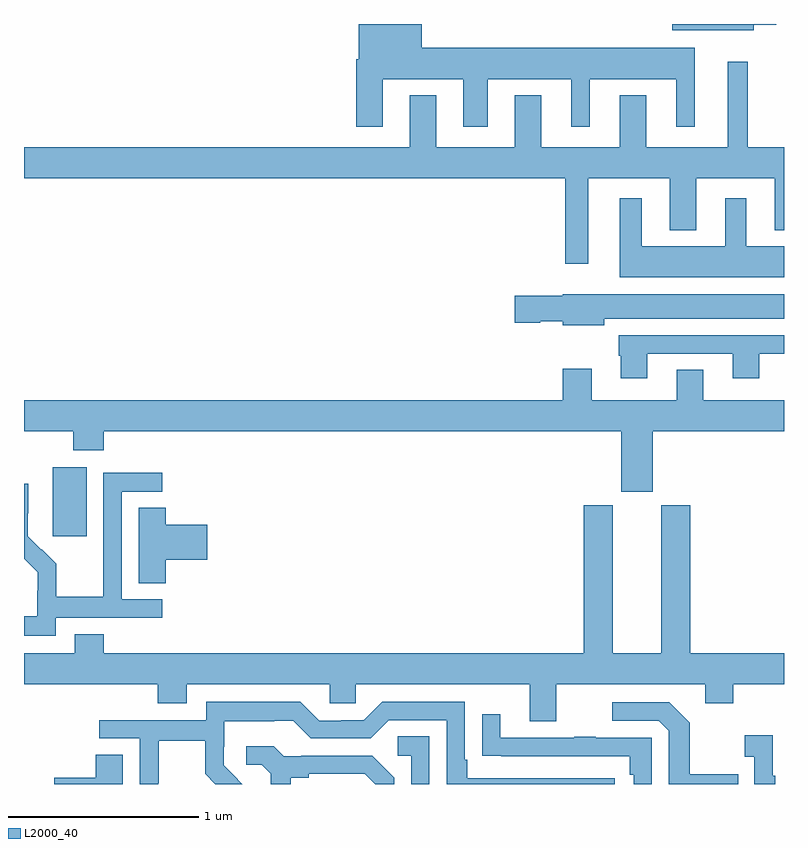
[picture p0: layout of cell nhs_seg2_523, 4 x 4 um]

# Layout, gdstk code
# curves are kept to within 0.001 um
import gdstk
lib = gdstk.Library(unit=1e-6, precision=1e-09)
def R(c, l, rs):  # rectangles x0, y0, x1, y1
    for r in rs: c.add(gdstk.rectangle(r[:2], r[2:], *l))
def P(c, l, *ps):  # polygons
    for p in ps: c.add(gdstk.Polygon(p, *l))
L2000_40 = (2000, 40)

nhs_seg2_523 = lib.new_cell('nhs_seg2_523')
R(nhs_seg2_523, L2000_40, [(137.15,627.105,137.329,627.466)])
P(nhs_seg2_523, L2000_40, [(140.842,629.795),(140.958,629.795),(140.958,629.8),(140.412,629.8),(140.412,629.768),(140.842,629.768)],
  [(138.889,629.51),(139.313,629.51),(139.313,629.259),(139.441,629.259),(139.441,629.51),(139.88,629.51),(139.88,629.259),(139.978,629.259),(139.978,629.51),(140.432,629.51),(140.432,629.259),(140.53,629.259),(140.53,629.674),(139.093,629.674),(139.093,629.8),(138.761,629.8),(138.761,629.614),(138.749,629.614),(138.749,629.259),(138.889,629.259)],
  [(139.969,628.988),(140.399,628.988),(140.399,628.715),(140.539,628.715),(140.539,628.988),(140.951,628.988),(140.951,628.715),(141,628.715),(141,629.152),(140.809,629.152),(140.809,629.602),(140.705,629.602),(140.705,629.152),(140.275,629.152),(140.275,629.425),(140.135,629.425),(140.135,629.152),(139.723,629.152),(139.723,629.425),(139.583,629.425),(139.583,629.152),(139.171,629.152),(139.171,629.425),(139.031,629.425),(139.031,629.152),(137,629.152),(137,628.988),(139.848,628.988),(139.848,628.539),(139.969,628.539)],
  [(141,628.63),(140.8,628.63),(140.8,628.882),(140.69,628.882),(140.69,628.63),(140.251,628.63),(140.251,628.882),(140.135,628.882),(140.135,628.466),(141,628.466)],
  [(140.053,628.25),(141,628.25),(141,628.378),(139.836,628.378),(139.836,628.37),(139.584,628.37),(139.584,628.228),(139.716,628.228),(139.716,628.235),(139.836,628.235),(139.836,628.214),(140.053,628.214)],
  [(140.281,628.065),(140.729,628.065),(140.729,627.936),(140.869,627.936),(140.869,628.065),(141,628.065),(141,628.161),(140.129,628.161),(140.129,628.053),(140.141,628.053),(140.141,627.936),(140.281,627.936)],
  [(139.987,627.985),(139.835,627.985),(139.835,627.82),(137,627.82),(137,627.656),(137.26,627.656),(137.26,627.557),(137.42,627.557),(137.42,627.656),(140.144,627.656),(140.144,627.339),(140.308,627.339),(140.308,627.656),(141,627.656),(141,627.82),(140.575,627.82),(140.575,627.98),(140.435,627.98),(140.435,627.82),(139.987,627.82)],
  [(137.166,626.676),(137.728,626.676),(137.728,626.772),(137.514,626.772),(137.514,627.339),(137.728,627.339),(137.728,627.438),(137.418,627.438),(137.418,627.008),(137.416,627.008),(137.416,626.785),(137.171,626.785),(137.171,626.959),(137.094,627.036),(137.091,627.033),(137.021,627.104),(137.022,627.38),(137,627.38),(137,626.986),(137.072,626.914),(137.072,626.817),(137.07,626.817),(137.07,626.683),(137,626.683),(137,626.579),(137.166,626.579)],
  [(137.747,626.981),(137.965,626.981),(137.965,627.164),(137.747,627.164),(137.747,627.254),(137.603,627.254),(137.603,626.857),(137.747,626.857)],
  [(140.507,627.267),(140.354,627.267),(140.354,626.488),(140.098,626.488),(140.098,627.267),(139.946,627.267),(139.946,626.488),(137.42,626.488),(137.42,626.587),(137.267,626.587),(137.267,626.488),(137,626.488),(137,626.324),(137.705,626.324),(137.705,626.225),(137.857,626.225),(137.857,626.324),(138.609,626.324),(138.609,626.226),(138.747,626.226),(138.747,626.324),(139.661,626.324),(139.661,626.13),(139.801,626.13),(139.801,626.324),(140.585,626.324),(140.585,626.225),(140.733,626.225),(140.733,626.324),(141,626.324),(141,626.488),(140.507,626.488)],
  [(137.706,625.804),(137.709,625.804),(137.709,626.028),(137.953,626.028),(137.953,625.853),(138.006,625.8),(138.148,625.8),(138.125,625.823),(138.126,625.824),(138.052,625.898),(138.052,625.995),(138.054,625.995),(138.054,626.129),(138.317,626.129),(138.317,626.133),(138.417,626.133),(138.51,626.04),(138.825,626.04),(138.921,626.136),(139.224,626.136),(139.224,625.8),(140.11,625.8),(140.11,625.83),(139.333,625.83),(139.333,625.927),(139.32,625.927),(139.32,626.232),(138.885,626.232),(138.789,626.136),(138.671,626.136),(138.671,626.133),(138.555,626.133),(138.455,626.233),(137.958,626.233),(137.958,626.136),(137.397,626.136),(137.397,626.04),(137.61,626.04),(137.61,625.8),(137.706,625.8)],
  [(140.759,625.851),(140.503,625.851),(140.503,626.123),(140.397,626.229),(140.097,626.229),(140.097,626.133),(140.34,626.133),(140.394,626.079),(140.394,625.8),(140.759,625.8)],
  [(140.304,626.043),(140.009,626.043),(140.009,626.048),(139.897,626.048),(139.897,626.043),(139.507,626.043),(139.507,626.167),(139.411,626.167),(139.411,625.948),(139.513,625.948),(139.513,625.947),(140.188,625.947),(140.188,625.85),(140.208,625.85),(140.208,625.8),(140.304,625.8)],
  [(140.953,625.843),(140.941,625.843),(140.941,626.056),(140.793,626.056),(140.793,625.943),(140.844,625.943),(140.844,625.8),(140.953,625.8)],
  [(139.134,626.051),(138.966,626.051),(138.966,625.95),(139.038,625.95),(139.038,625.8),(139.134,625.8)],
  [(138.403,625.832),(138.499,625.832),(138.499,625.854),(138.794,625.854),(138.848,625.8),(138.948,625.8),(138.948,625.834),(138.832,625.95),(138.46,625.95),(138.46,625.947),(138.366,625.947),(138.314,625.999),(138.171,625.999),(138.171,625.902),(138.252,625.902),(138.299,625.855),(138.299,625.8),(138.403,625.8)],
  [(137.521,625.955),(137.378,625.955),(137.378,625.832),(137.16,625.832),(137.16,625.8),(137.521,625.8)])

lib.write_gds('nhs_seg2_523.gds')
